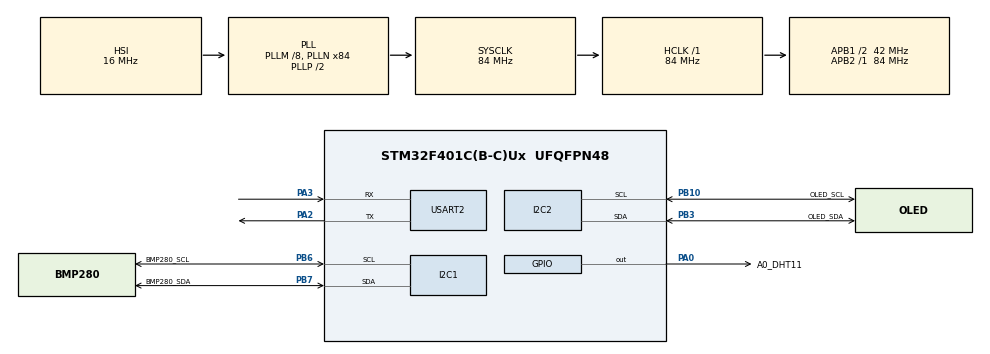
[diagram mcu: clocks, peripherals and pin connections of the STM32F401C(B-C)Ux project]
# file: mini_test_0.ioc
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FREERTOS.Tasks01=pressure_data_c,-1,128,pressure_data_c_init,Default,NULL,Dynamic,NULL,NULL;temp_data_colle,0,128,temp_data_collect_init,Default,NULL,Dynamic,NULL,NULL
FREERTOS.configUSE_NEWLIB_REENTRANT=1
I2C2.I2C_Mode=I2C_Fast
Mcu.Family=STM32F4
Mcu.Name=STM32F401C(B-C)Ux
Mcu.Package=UFQFPN48
NVIC.PriorityGroup=NVIC_PRIORITYGROUP_4
NVIC.TIM1_UP_TIM10_IRQn=true\:15\:0\:false\:false\:true\:false\:false\:true\:true
NVIC.TimeBase=TIM1_UP_TIM10_IRQn
NVIC.TimeBaseIP=TIM1
PA0-WKUP.GPIO_Label=A0_DHT11
PA0-WKUP.Signal=GPIO_Output
PA13.Mode=Serial_Wire
PA13.Signal=SYS_JTMS-SWDIO
PA14.Mode=Serial_Wire
PA14.Signal=SYS_JTCK-SWCLK
PA2.Mode=Asynchronous
PA2.Signal=USART2_TX
PA3.Mode=Asynchronous
PA3.Signal=USART2_RX
PB10.GPIO_Label=OLED_SCL
PB10.Mode=I2C
PB10.Signal=I2C2_SCL
PB3.GPIO_Label=OLED_SDA
PB3.Mode=I2C
PB3.Signal=I2C2_SDA
PB6.GPIO_Label=BMP280_SCL
PB6.Mode=I2C
PB6.Signal=I2C1_SCL
PB7.GPIO_Label=BMP280_SDA
PB7.Mode=I2C
PB7.Signal=I2C1_SDA
ProjectManager.HeapSize=0x200
ProjectManager.StackSize=0x400
ProjectManager.TargetToolchain=STM32CubeIDE
RCC.48MHZClocksFreq_Value=42000000
RCC.AHBFreq_Value=84000000
RCC.APB1CLKDivider=RCC_HCLK_DIV2
RCC.APB1Freq_Value=42000000
RCC.APB1TimFreq_Value=84000000
RCC.APB2Freq_Value=84000000
RCC.APB2TimFreq_Value=84000000
RCC.CortexFreq_Value=84000000
RCC.HCLKFreq_Value=84000000
RCC.HSE_VALUE=25000000
RCC.HSI_VALUE=16000000
RCC.LSE_VALUE=32768
RCC.PLLM=8
RCC.PLLN=84
RCC.SYSCLKFreq_VALUE=84000000
RCC.SYSCLKSource=RCC_SYSCLKSOURCE_PLLCLK
RCC.VCOOutputFreq_Value=168000000
TIM2.Period=4294967295-1
TIM2.Prescaler=84-1
USART2.VirtualMode=VM_ASYNC
VP_FREERTOS_VS_CMSIS_V1.Mode=CMSIS_V1
VP_SYS_VS_tim1.Mode=TIM1
VP_TIM2_VS_ClockSourceINT.Mode=Internal
board=custom

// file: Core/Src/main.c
/* USER CODE BEGIN Header */
/**
  ******************************************************************************
  * @file           : main.c
  * @brief          : Main program body
  ******************************************************************************
  * @attention
  *
  * Copyright (c) 2023 STMicroelectronics.
  * All rights reserved.
  *
  * This software is licensed under terms that can be found in the LICENSE file
  * in the root directory of this software component.
  * If no LICENSE file comes with this software, it is provided AS-IS.
  *
  ******************************************************************************
  */
/* USER CODE END Header */
#include "main.h"
#include "cmsis_os.h"

/* USER CODE BEGIN Includes */
#include "bmp280.h"
#include "dht11.h"
#include "ssd1306.h"
#include "fonts.h"
#include "stdio.h"
/* USER CODE END Includes */

I2C_HandleTypeDef hi2c1;
I2C_HandleTypeDef hi2c2;

TIM_HandleTypeDef htim2;

UART_HandleTypeDef huart2;

osThreadId pressure_data_cHandle;
osThreadId temp_data_colleHandle;
/* USER CODE BEGIN PV */
typedef struct TelemteryData
{
    float temperature;
    float altitude;
    float pressure;
    uint8_t humidity;
} TelemteryData;

TelemteryData Telemetry;
BMP280_HandleTypedef bmp280;
dht11_t dht;
/* USER CODE END PV */

void SystemClock_Config(void);
static void MX_GPIO_Init(void);
static void MX_I2C1_Init(void);
static void MX_I2C2_Init(void);
static void MX_TIM2_Init(void);
static void MX_USART2_UART_Init(void);
void pressure_data_c_init(void const * argument);
void temp_data_collect_init(void const * argument);

/* USER CODE BEGIN 0 */
void Delay_Us(uint32_t us)
{
    uint32_t startTick = __HAL_TIM_GET_COUNTER(&htim2);
    while ((__HAL_TIM_GET_COUNTER(&htim2) - startTick) < us);
}
/* USER CODE END 0 */

int main(void)
{

  /* MCU Configuration--------------------------------------------------------*/

  /* Reset of all peripherals, Initializes the Flash interface and the Systick. */
  HAL_Init();

  /* Configure the system clock */
  SystemClock_Config();

  /* Initialize all configured peripherals */
  MX_GPIO_Init();
  MX_I2C1_Init();
  MX_I2C2_Init();
  MX_TIM2_Init();
  MX_USART2_UART_Init();

  /* Create the thread(s) */
  /* definition and creation of pressure_data_c */
  osThreadDef(pressure_data_c, pressure_data_c_init, osPriorityBelowNormal, 0, 128);
  pressure_data_cHandle = osThreadCreate(osThread(pressure_data_c), NULL);

  /* definition and creation of temp_data_colle */
  osThreadDef(temp_data_colle, temp_data_collect_init, osPriorityNormal, 0, 128);
  temp_data_colleHandle = osThreadCreate(osThread(temp_data_colle), NULL);

  /* Start scheduler */
  osKernelStart();

  /* We should never get here as control is now taken by the scheduler */
  /* Infinite loop */
  while (1)
  {

  }
}

void SystemClock_Config(void)
{
  RCC_OscInitTypeDef RCC_OscInitStruct = {0};
  RCC_ClkInitTypeDef RCC_ClkInitStruct = {0};

  /** Configure the main internal regulator output voltage
  */
  __HAL_RCC_PWR_CLK_ENABLE();
  __HAL_PWR_VOLTAGESCALING_CONFIG(PWR_REGULATOR_VOLTAGE_SCALE2);

  /** Initializes the RCC Oscillators according to the specified parameters
  * in the RCC_OscInitTypeDef structure.
  */
  RCC_OscInitStruct.OscillatorType = RCC_OSCILLATORTYPE_HSI;
  RCC_OscInitStruct.HSIState = RCC_HSI_ON;
  RCC_OscInitStruct.HSICalibrationValue = RCC_HSICALIBRATION_DEFAULT;
  RCC_OscInitStruct.PLL.PLLState = RCC_PLL_ON;
  RCC_OscInitStruct.PLL.PLLSource = RCC_PLLSOURCE_HSI;
  RCC_OscInitStruct.PLL.PLLM = 8;
  RCC_OscInitStruct.PLL.PLLN = 84;
  RCC_OscInitStruct.PLL.PLLP = RCC_PLLP_DIV2;
  RCC_OscInitStruct.PLL.PLLQ = 4;
  if (HAL_RCC_OscConfig(&RCC_OscInitStruct) != HAL_OK)
  {
    Error_Handler();
  }

  /** Initializes the CPU, AHB and APB buses clocks
  */
  RCC_ClkInitStruct.ClockType = RCC_CLOCKTYPE_HCLK|RCC_CLOCKTYPE_SYSCLK
                              |RCC_CLOCKTYPE_PCLK1|RCC_CLOCKTYPE_PCLK2;
  RCC_ClkInitStruct.SYSCLKSource = RCC_SYSCLKSOURCE_PLLCLK;
  RCC_ClkInitStruct.AHBCLKDivider = RCC_SYSCLK_DIV1;
  RCC_ClkInitStruct.APB1CLKDivider = RCC_HCLK_DIV2;
  RCC_ClkInitStruct.APB2CLKDivider = RCC_HCLK_DIV1;

  if (HAL_RCC_ClockConfig(&RCC_ClkInitStruct, FLASH_LATENCY_2) != HAL_OK)
  {
    Error_Handler();
  }
}

static void MX_I2C1_Init(void)
{

  hi2c1.Instance = I2C1;
  hi2c1.Init.ClockSpeed = 100000;
  hi2c1.Init.DutyCycle = I2C_DUTYCYCLE_2;
  hi2c1.Init.OwnAddress1 = 0;
  hi2c1.Init.AddressingMode = I2C_ADDRESSINGMODE_7BIT;
  hi2c1.Init.DualAddressMode = I2C_DUALADDRESS_DISABLE;
  hi2c1.Init.OwnAddress2 = 0;
  hi2c1.Init.GeneralCallMode = I2C_GENERALCALL_DISABLE;
  hi2c1.Init.NoStretchMode = I2C_NOSTRETCH_DISABLE;
  if (HAL_I2C_Init(&hi2c1) != HAL_OK)
  {
    Error_Handler();
  }

}

static void MX_I2C2_Init(void)
{

  hi2c2.Instance = I2C2;
  hi2c2.Init.ClockSpeed = 400000;
  hi2c2.Init.DutyCycle = I2C_DUTYCYCLE_2;
  hi2c2.Init.OwnAddress1 = 0;
  hi2c2.Init.AddressingMode = I2C_ADDRESSINGMODE_7BIT;
  hi2c2.Init.DualAddressMode = I2C_DUALADDRESS_DISABLE;
  hi2c2.Init.OwnAddress2 = 0;
  hi2c2.Init.GeneralCallMode = I2C_GENERALCALL_DISABLE;
  hi2c2.Init.NoStretchMode = I2C_NOSTRETCH_DISABLE;
  if (HAL_I2C_Init(&hi2c2) != HAL_OK)
  {
    Error_Handler();
  }

}

static void MX_TIM2_Init(void)
{

  TIM_ClockConfigTypeDef sClockSourceConfig = {0};
  TIM_MasterConfigTypeDef sMasterConfig = {0};

  htim2.Instance = TIM2;
  htim2.Init.Prescaler = 84-1;
  htim2.Init.CounterMode = TIM_COUNTERMODE_UP;
  htim2.Init.Period = 4294967295-1;
  htim2.Init.ClockDivision = TIM_CLOCKDIVISION_DIV1;
  htim2.Init.AutoReloadPreload = TIM_AUTORELOAD_PRELOAD_DISABLE;
  if (HAL_TIM_Base_Init(&htim2) != HAL_OK)
  {
    Error_Handler();
  }
  sClockSourceConfig.ClockSource = TIM_CLOCKSOURCE_INTERNAL;
  if (HAL_TIM_ConfigClockSource(&htim2, &sClockSourceConfig) != HAL_OK)
  {
    Error_Handler();
  }
  sMasterConfig.MasterOutputTrigger = TIM_TRGO_RESET;
  sMasterConfig.MasterSlaveMode = TIM_MASTERSLAVEMODE_DISABLE;
  if (HAL_TIMEx_MasterConfigSynchronization(&htim2, &sMasterConfig) != HAL_OK)
  {
    Error_Handler();
  }

}

static void MX_USART2_UART_Init(void)
{

  huart2.Instance = USART2;
  huart2.Init.BaudRate = 115200;
  huart2.Init.WordLength = UART_WORDLENGTH_8B;
  huart2.Init.StopBits = UART_STOPBITS_1;
  huart2.Init.Parity = UART_PARITY_NONE;
  huart2.Init.Mode = UART_MODE_TX_RX;
  huart2.Init.HwFlowCtl = UART_HWCONTROL_NONE;
  huart2.Init.OverSampling = UART_OVERSAMPLING_16;
  if (HAL_UART_Init(&huart2) != HAL_OK)
  {
    Error_Handler();
  }

}

static void MX_GPIO_Init(void)
{
  GPIO_InitTypeDef GPIO_InitStruct = {0};

  /* GPIO Ports Clock Enable */
  __HAL_RCC_GPIOA_CLK_ENABLE();
  __HAL_RCC_GPIOB_CLK_ENABLE();

  /*Configure GPIO pin Output Level */
  HAL_GPIO_WritePin(A0_DHT11_GPIO_Port, A0_DHT11_Pin, GPIO_PIN_RESET);

  /*Configure GPIO pin : A0_DHT11_Pin */
  GPIO_InitStruct.Pin = A0_DHT11_Pin;
  GPIO_InitStruct.Mode = GPIO_MODE_OUTPUT_PP;
  GPIO_InitStruct.Pull = GPIO_NOPULL;
  GPIO_InitStruct.Speed = GPIO_SPEED_FREQ_LOW;
  HAL_GPIO_Init(A0_DHT11_GPIO_Port, &GPIO_InitStruct);

}

void pressure_data_c_init(void const * argument)
{
  /* USER CODE BEGIN 5 */
//	bmp280.addr = BMP280_I2C_ADDRESS_0;
//	bmp280.i2c = &hi2c1;
	SSD1306_Init();
//	BMP280_Init_Default_Params(&bmp280.params);
//	BMP280_Init(&bmp280, &bmp280.params);

	char display_buffer[128];
  /* Infinite loop */
  for(;;)
  {
	  HAL_StatusTypeDef bmp280Status;
	  bmp280Status = !BMP280_Read_Float(&bmp280, &Telemetry.temperature, &Telemetry.pressure, &Telemetry.altitude);
//	  if ( bmp280Status == HAL_OK)
//		{
			sprintf(display_buffer, "Temp: %.2f C",24.00);
			SSD1306_GotoXY(0, 0);
			SSD1306_Puts(display_buffer, &Font_7x10, SSD1306_COLOR_WHITE);
			SSD1306_UpdateScreen();

			sprintf(display_buffer, "Pressure: %.2f hPa", Telemetry.pressure);
			SSD1306_GotoXY(0, 24);
			SSD1306_Puts(display_buffer, &Font_7x10, SSD1306_COLOR_WHITE);
			SSD1306_UpdateScreen();

			sprintf(display_buffer, "Altitude: %.2f m", Telemetry.altitude);
			SSD1306_GotoXY(0, 36);
			SSD1306_Puts(display_buffer, &Font_7x10, SSD1306_COLOR_WHITE);

			SSD1306_UpdateScreen();
//		}
	  osDelay(500);
  }
  /* USER CODE END 5 */
}

void temp_data_collect_init(void const * argument)
{
  /* USER CODE BEGIN temp_data_collect_init */
	//only to collect humidity data
	HAL_TIM_Base_Start(&htim2);
	DHT11_Init(&dht, &htim2, GPIOA, GPIO_PIN_0);
	char display_buffer_h[128];
	 SSD1306_Init();
  /* Infinite loop */
  for(;;)
  {
	HAL_StatusTypeDef  dht11Status;
	dht11Status = DHT11_Read(&dht);
	Telemetry.humidity = dht.humidity;
	if ( dht11Status == HAL_OK)
	  {

		sprintf(display_buffer_h, "Humidity: %d %%", Telemetry.humidity);
		SSD1306_GotoXY(0, 24);
		SSD1306_Puts(display_buffer_h, &Font_7x10, SSD1306_COLOR_WHITE);
		SSD1306_UpdateScreen();
    HAL_UART_Transmit(huart2,Telemetry,);//// needs to be completed ( array size needs to be determined )

	//  print the values in oled screen
	  }

    osDelay(700);
  }
  /* USER CODE END temp_data_collect_init */
}

void HAL_TIM_PeriodElapsedCallback(TIM_HandleTypeDef *htim)
{
  if (htim->Instance == TIM1) {
    HAL_IncTick();
  }
}

void Error_Handler(void)
{
  __disable_irq();
  while (1)
  {
  }
}
